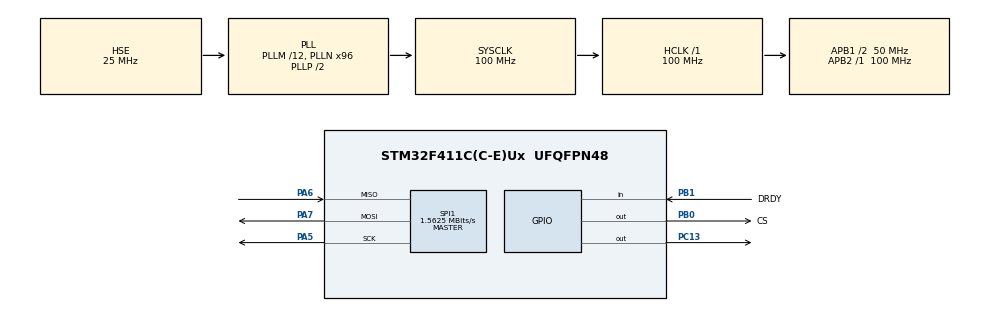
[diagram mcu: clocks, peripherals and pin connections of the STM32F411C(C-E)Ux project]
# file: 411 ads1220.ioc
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Mcu.Family=STM32F4
Mcu.Name=STM32F411C(C-E)Ux
Mcu.Package=UFQFPN48
NVIC.PriorityGroup=NVIC_PRIORITYGROUP_4
PA13.Mode=Serial_Wire
PA13.Signal=SYS_JTMS-SWDIO
PA14.Mode=Serial_Wire
PA14.Signal=SYS_JTCK-SWCLK
PA5.Mode=Full_Duplex_Master
PA5.Signal=SPI1_SCK
PA6.Mode=Full_Duplex_Master
PA6.Signal=SPI1_MISO
PA7.Mode=Full_Duplex_Master
PA7.Signal=SPI1_MOSI
PB0.GPIO_Label=CS
PB0.GPIO_Speed=GPIO_SPEED_FREQ_HIGH
PB0.PinState=GPIO_PIN_SET
PB0.Signal=GPIO_Output
PB1.GPIO_Label=DRDY
PB1.Signal=GPIO_Input
PC13-ANTI_TAMP.Signal=GPIO_Output
PH0\ -\ OSC_IN.Mode=HSE-External-Oscillator
PH0\ -\ OSC_IN.Signal=RCC_OSC_IN
PH1\ -\ OSC_OUT.Mode=HSE-External-Oscillator
PH1\ -\ OSC_OUT.Signal=RCC_OSC_OUT
ProjectManager.HeapSize=0x200
ProjectManager.StackSize=0x400
ProjectManager.TargetToolchain=MDK-ARM V5.32
RCC.48MHZClocksFreq_Value=50000000
RCC.AHBFreq_Value=100000000
RCC.APB1CLKDivider=RCC_HCLK_DIV2
RCC.APB1Freq_Value=50000000
RCC.APB1TimFreq_Value=100000000
RCC.APB2Freq_Value=100000000
RCC.APB2TimFreq_Value=100000000
RCC.CortexFreq_Value=100000000
RCC.HCLKFreq_Value=100000000
RCC.HSE_VALUE=25000000
RCC.HSI_VALUE=16000000
RCC.LSE_VALUE=32768
RCC.PLLM=12
RCC.PLLN=96
RCC.PLLSourceVirtual=RCC_PLLSOURCE_HSE
RCC.SYSCLKFreq_VALUE=100000000
RCC.SYSCLKSource=RCC_SYSCLKSOURCE_PLLCLK
RCC.VCOOutputFreq_Value=200000000
SPI1.BaudRatePrescaler=SPI_BAUDRATEPRESCALER_64
SPI1.CLKPhase=SPI_PHASE_2EDGE
SPI1.CalculateBaudRate=1.5625 MBits/s
SPI1.Direction=SPI_DIRECTION_2LINES
SPI1.Mode=SPI_MODE_MASTER
SPI1.VirtualType=VM_MASTER
board=custom

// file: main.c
/* USER CODE BEGIN Header */
/**
  ******************************************************************************
  * @file           : main.c
  * @brief          : Main program body
  ******************************************************************************
  * @attention
  *
  * Copyright (c) 2026 STMicroelectronics.
  * All rights reserved.
  *
  * This software is licensed under terms that can be found in the LICENSE file
  * in the root directory of this software component.
  * If no LICENSE file comes with this software, it is provided AS-IS.
  *
  ******************************************************************************
  */
/* USER CODE END Header */
#include "main.h"

/* USER CODE BEGIN Includes */
#include "ADS1220.h"
/* USER CODE END Includes */

/* USER CODE BEGIN PTD */
float Voltag;
/* USER CODE END PTD */

SPI_HandleTypeDef hspi1;

void SystemClock_Config(void);
static void MX_GPIO_Init(void);
static void MX_SPI1_Init(void);

int main(void)
{

  /* MCU Configuration--------------------------------------------------------*/

  /* Reset of all peripherals, Initializes the Flash interface and the Systick. */
  HAL_Init();

  /* Configure the system clock */
  SystemClock_Config();

  /* Initialize all configured peripherals */
  MX_GPIO_Init();
  MX_SPI1_Init();
  /* USER CODE BEGIN 2 */
		ADS1220_Init();
    HAL_Delay(5);

    /* Регистры (default после RESET — все 0x00) */
    ADS1220_WriteReg(0,  ADS1220_MUX_AIN0_AVSS | ADS1220_GAIN_1);
    ADS1220_WriteReg(1, ADS1220_DR_20  | ADS1220_MODE_NORMAL |ADS1220_CM_CONTINUOUS);
    ADS1220_WriteReg(2, ADS1220_VREF_AVDD | ADS1220_FIR_50_60);
    ADS1220_WriteReg(3, 0x00);   /* IDAC off, DRDY dedicated */

    /* Проверка: прочитать обратно */
    uint8_t r0 = ADS1220_ReadReg(0);
    /* r0 должен быть 0x07 (GAIN_128) */
  /* USER CODE END 2 */

  /* Infinite loop */
  /* USER CODE BEGIN WHILE */
  while (1)
  {

			if (HAL_GPIO_ReadPin(DRDY_GPIO_Port, DRDY_Pin) == RESET)
			{
			Voltag = ADS1220_ReadData();
		  Voltag = (Voltag * 2.98)/ 8388607;
			}

    /* USER CODE END WHILE */

		}
}

void SystemClock_Config(void)
{
  RCC_OscInitTypeDef RCC_OscInitStruct = {0};
  RCC_ClkInitTypeDef RCC_ClkInitStruct = {0};

  /** Configure the main internal regulator output voltage
  */
  __HAL_RCC_PWR_CLK_ENABLE();
  __HAL_PWR_VOLTAGESCALING_CONFIG(PWR_REGULATOR_VOLTAGE_SCALE1);

  /** Initializes the RCC Oscillators according to the specified parameters
  * in the RCC_OscInitTypeDef structure.
  */
  RCC_OscInitStruct.OscillatorType = RCC_OSCILLATORTYPE_HSE;
  RCC_OscInitStruct.HSEState = RCC_HSE_ON;
  RCC_OscInitStruct.PLL.PLLState = RCC_PLL_ON;
  RCC_OscInitStruct.PLL.PLLSource = RCC_PLLSOURCE_HSE;
  RCC_OscInitStruct.PLL.PLLM = 12;
  RCC_OscInitStruct.PLL.PLLN = 96;
  RCC_OscInitStruct.PLL.PLLP = RCC_PLLP_DIV2;
  RCC_OscInitStruct.PLL.PLLQ = 4;
  if (HAL_RCC_OscConfig(&RCC_OscInitStruct) != HAL_OK)
  {
    Error_Handler();
  }

  /** Initializes the CPU, AHB and APB buses clocks
  */
  RCC_ClkInitStruct.ClockType = RCC_CLOCKTYPE_HCLK|RCC_CLOCKTYPE_SYSCLK
                              |RCC_CLOCKTYPE_PCLK1|RCC_CLOCKTYPE_PCLK2;
  RCC_ClkInitStruct.SYSCLKSource = RCC_SYSCLKSOURCE_PLLCLK;
  RCC_ClkInitStruct.AHBCLKDivider = RCC_SYSCLK_DIV1;
  RCC_ClkInitStruct.APB1CLKDivider = RCC_HCLK_DIV2;
  RCC_ClkInitStruct.APB2CLKDivider = RCC_HCLK_DIV1;

  if (HAL_RCC_ClockConfig(&RCC_ClkInitStruct, FLASH_LATENCY_3) != HAL_OK)
  {
    Error_Handler();
  }
}

static void MX_SPI1_Init(void)
{

  /* SPI1 parameter configuration*/
  hspi1.Instance = SPI1;
  hspi1.Init.Mode = SPI_MODE_MASTER;
  hspi1.Init.Direction = SPI_DIRECTION_2LINES;
  hspi1.Init.DataSize = SPI_DATASIZE_8BIT;
  hspi1.Init.CLKPolarity = SPI_POLARITY_LOW;
  hspi1.Init.CLKPhase = SPI_PHASE_2EDGE;
  hspi1.Init.NSS = SPI_NSS_SOFT;
  hspi1.Init.BaudRatePrescaler = SPI_BAUDRATEPRESCALER_64;
  hspi1.Init.FirstBit = SPI_FIRSTBIT_MSB;
  hspi1.Init.TIMode = SPI_TIMODE_DISABLE;
  hspi1.Init.CRCCalculation = SPI_CRCCALCULATION_DISABLE;
  hspi1.Init.CRCPolynomial = 10;
  if (HAL_SPI_Init(&hspi1) != HAL_OK)
  {
    Error_Handler();
  }

}

static void MX_GPIO_Init(void)
{
  GPIO_InitTypeDef GPIO_InitStruct = {0};

  /* GPIO Ports Clock Enable */
  __HAL_RCC_GPIOC_CLK_ENABLE();
  __HAL_RCC_GPIOH_CLK_ENABLE();
  __HAL_RCC_GPIOA_CLK_ENABLE();
  __HAL_RCC_GPIOB_CLK_ENABLE();

  /*Configure GPIO pin Output Level */
  HAL_GPIO_WritePin(GPIOC, GPIO_PIN_13, GPIO_PIN_RESET);

  /*Configure GPIO pin Output Level */
  HAL_GPIO_WritePin(CS_GPIO_Port, CS_Pin, GPIO_PIN_SET);

  /*Configure GPIO pin : PC13 */
  GPIO_InitStruct.Pin = GPIO_PIN_13;
  GPIO_InitStruct.Mode = GPIO_MODE_OUTPUT_PP;
  GPIO_InitStruct.Pull = GPIO_NOPULL;
  GPIO_InitStruct.Speed = GPIO_SPEED_FREQ_LOW;
  HAL_GPIO_Init(GPIOC, &GPIO_InitStruct);

  /*Configure GPIO pin : CS_Pin */
  GPIO_InitStruct.Pin = CS_Pin;
  GPIO_InitStruct.Mode = GPIO_MODE_OUTPUT_PP;
  GPIO_InitStruct.Pull = GPIO_NOPULL;
  GPIO_InitStruct.Speed = GPIO_SPEED_FREQ_HIGH;
  HAL_GPIO_Init(CS_GPIO_Port, &GPIO_InitStruct);

  /*Configure GPIO pin : DRDY_Pin */
  GPIO_InitStruct.Pin = DRDY_Pin;
  GPIO_InitStruct.Mode = GPIO_MODE_INPUT;
  GPIO_InitStruct.Pull = GPIO_NOPULL;
  HAL_GPIO_Init(DRDY_GPIO_Port, &GPIO_InitStruct);

}

/* USER CODE BEGIN 4 */
void HAL_GPIO_EXTI_Callback(uint16_t pin)
{
    if (pin == DRDY_Pin) {
        int32_t code = ADS1220_ReadData();   /* 3 байта */
        /* обработка */
    }
}
/* USER CODE END 4 */

void Error_Handler(void)
{
  __disable_irq();
  while (1)
  {
  }
}
